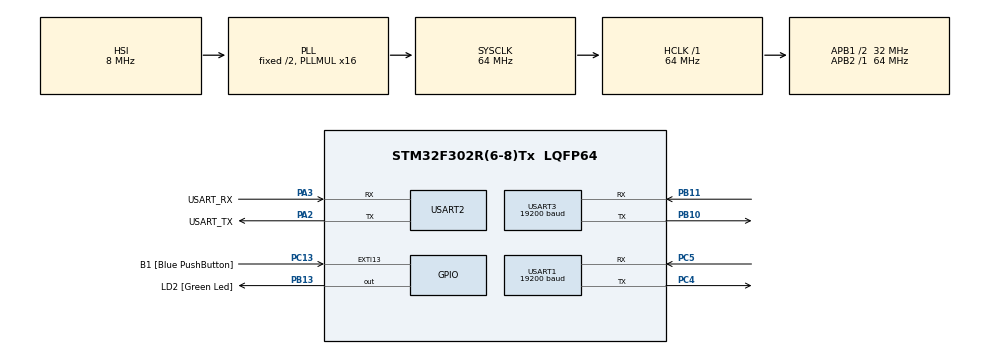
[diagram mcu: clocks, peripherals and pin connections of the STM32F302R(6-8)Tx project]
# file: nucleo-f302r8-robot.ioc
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Dma.Request0=USART1_RX
Dma.Request1=USART3_RX
Dma.USART1_RX.0.Direction=DMA_PERIPH_TO_MEMORY
Dma.USART1_RX.0.Instance=DMA1_Channel5
Dma.USART1_RX.0.MemDataAlignment=DMA_MDATAALIGN_BYTE
Dma.USART1_RX.0.MemInc=DMA_MINC_ENABLE
Dma.USART1_RX.0.Mode=DMA_NORMAL
Dma.USART1_RX.0.PeriphDataAlignment=DMA_PDATAALIGN_BYTE
Dma.USART1_RX.0.PeriphInc=DMA_PINC_DISABLE
Dma.USART1_RX.0.Priority=DMA_PRIORITY_LOW
Dma.USART3_RX.1.Direction=DMA_PERIPH_TO_MEMORY
Dma.USART3_RX.1.Instance=DMA1_Channel3
Dma.USART3_RX.1.MemDataAlignment=DMA_MDATAALIGN_BYTE
Dma.USART3_RX.1.MemInc=DMA_MINC_ENABLE
Dma.USART3_RX.1.Mode=DMA_NORMAL
Dma.USART3_RX.1.PeriphDataAlignment=DMA_PDATAALIGN_BYTE
Dma.USART3_RX.1.PeriphInc=DMA_PINC_DISABLE
Dma.USART3_RX.1.Priority=DMA_PRIORITY_MEDIUM
Mcu.Family=STM32F3
Mcu.Name=STM32F302R(6-8)Tx
Mcu.Package=LQFP64
NVIC.DMA1_Channel3_IRQn=true\:0\:0\:false\:false\:true\:false\:true\:true
NVIC.DMA1_Channel5_IRQn=true\:0\:0\:false\:false\:true\:false\:true\:true
NVIC.PriorityGroup=NVIC_PRIORITYGROUP_0
NVIC.TIM2_IRQn=true\:0\:0\:false\:false\:true\:true\:true\:true
NVIC.USART1_IRQn=true\:0\:0\:false\:false\:true\:true\:true\:true
NVIC.USART3_IRQn=true\:0\:0\:false\:false\:true\:true\:true\:true
PA13.GPIO_Label=TMS
PA13.Mode=Serial_Wire
PA13.Signal=SYS_JTMS-SWDIO
PA14.GPIO_Label=TCK
PA14.Mode=Serial_Wire
PA14.Signal=SYS_JTCK-SWCLK
PA2.GPIO_Label=USART_TX
PA2.GPIO_Mode=GPIO_MODE_AF_PP
PA2.GPIO_PuPd=GPIO_NOPULL
PA2.GPIO_Speed=GPIO_SPEED_FREQ_LOW
PA2.Mode=Asynchronous
PA2.Signal=USART2_TX
PA3.GPIO_Label=USART_RX
PA3.GPIO_Mode=GPIO_MODE_AF_PP
PA3.GPIO_PuPd=GPIO_NOPULL
PA3.GPIO_Speed=GPIO_SPEED_FREQ_LOW
PA3.Mode=Asynchronous
PA3.Signal=USART2_RX
PB10.Mode=Asynchronous
PB10.Signal=USART3_TX
PB11.Mode=Asynchronous
PB11.Signal=USART3_RX
PB13.GPIO_Label=LD2 [Green Led]
PB13.Signal=GPIO_Output
PB3.GPIO_Label=SWO
PB3.Mode=Trace_Asynchronous_SW
PB3.Signal=SYS_JTDO-TRACESWO
PC13.GPIO_Label=B1 [Blue PushButton]
PC13.GPIO_ModeDefaultEXTI=GPIO_MODE_IT_FALLING
PC13.Signal=GPXTI13
PC14\ -\ OSC32_IN.Mode=LSE-External-Oscillator
PC14\ -\ OSC32_IN.Signal=RCC_OSC32_IN
PC15\ -\ OSC32_OUT.Mode=LSE-External-Oscillator
PC15\ -\ OSC32_OUT.Signal=RCC_OSC32_OUT
PC4.Mode=Asynchronous
PC4.Signal=USART1_TX
PC5.Mode=Asynchronous
PC5.Signal=USART1_RX
PF0-OSC_IN.Mode=HSE-External-Clock-Source
PF0-OSC_IN.Signal=RCC_OSC_IN
PF1-OSC_OUT.Signal=RCC_OSC_OUT
ProjectManager.HeapSize=0x200
ProjectManager.StackSize=0x400
ProjectManager.TargetToolchain=STM32CubeIDE
RCC.AHBFreq_Value=64000000
RCC.APB1CLKDivider=RCC_HCLK_DIV2
RCC.APB1Freq_Value=32000000
RCC.APB1TimFreq_Value=64000000
RCC.APB2Freq_Value=64000000
RCC.APB2TimFreq_Value=64000000
RCC.CortexFreq_Value=64000000
RCC.HCLKFreq_Value=64000000
RCC.HSE_VALUE=8000000
RCC.HSI_VALUE=8000000
RCC.PLLM=8
RCC.PLLMUL=RCC_PLL_MUL16
RCC.PLLN=336
RCC.PLLP=RCC_PLLP_DIV4
RCC.PLLQ=7
RCC.RCC_PLLsource_Clock_Source_FROM_HSE=RCC_HSE_PREDIV_DIV2
RCC.SYSCLKFreq_VALUE=64000000
RCC.SYSCLKSourceVirtual=RCC_SYSCLKSOURCE_PLLCLK
RCC.USBFreq_Value=64000000
TIM2.Period=10000-1
TIM2.Prescaler=64-1
USART1.BaudRate=19200
USART1.VirtualMode-Asynchronous=VM_ASYNC
USART2.VirtualMode-Asynchronous=VM_ASYNC
USART3.BaudRate=19200
USART3.VirtualMode-Asynchronous=VM_ASYNC
VP_TIM2_VS_ClockSourceINT.Mode=Internal
board=NUCLEO-F302R8

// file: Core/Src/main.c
/* USER CODE BEGIN Header */
/**
  ******************************************************************************
  * @file           : main.c
  * @brief          : Main program body
  ******************************************************************************
  * @attention
  *
  * Copyright (c) 2023 STMicroelectronics.
  * All rights reserved.
  *
  * This software is licensed under terms that can be found in the LICENSE file
  * in the root directory of this software component.
  * If no LICENSE file comes with this software, it is provided AS-IS.
  *
  ******************************************************************************
  */
/* USER CODE END Header */
#include "main.h"

/* USER CODE BEGIN Includes */
#include "transceiver_uart.h"
#include "msg_interpreter.h"
#include "string.h"

/* USER CODE END Includes */

TIM_HandleTypeDef htim2;

UART_HandleTypeDef huart1;
UART_HandleTypeDef huart2;
UART_HandleTypeDef huart3;
DMA_HandleTypeDef hdma_usart1_rx;
DMA_HandleTypeDef hdma_usart3_rx;

/* USER CODE BEGIN PV */
uint8_t transceiver_clk = 0;

/* USER CODE END PV */

void SystemClock_Config(void);
static void MX_GPIO_Init(void);
static void MX_DMA_Init(void);
static void MX_USART2_UART_Init(void);
static void MX_TIM2_Init(void);
static void MX_USART1_UART_Init(void);
static void MX_USART3_UART_Init(void);

/* USER CODE BEGIN 0 */
void HAL_TIM_PeriodElapsedCallback(TIM_HandleTypeDef *htim)
{
  	if (htim==&htim2) // Every 100µs
  	{
  		transceiver_clk = 1;
  	}
}

/* USER CODE END 0 */

int main(void)
{

  /* MCU Configuration--------------------------------------------------------*/

  /* Reset of all peripherals, Initializes the Flash interface and the Systick. */
  HAL_Init();

  /* Configure the system clock */
  SystemClock_Config();

  /* Initialize all configured peripherals */
  MX_GPIO_Init();
  MX_DMA_Init();
  MX_USART2_UART_Init();
  MX_TIM2_Init();
  MX_USART1_UART_Init();
  MX_USART3_UART_Init();
  /* USER CODE BEGIN 2 */
  Init_DMA_Rcvd(&huart1);
  Init_DMA_Rcvd(&huart3);
  Start_DMA_Rcvd(&huart1); // Start reception of messages
  Start_DMA_Rcvd(&huart3);
  HAL_TIM_Base_Start_IT(&htim2); // Start timer

  /* USER CODE END 2 */

  /* Infinite loop */
  while (1)
  {

    /* USER CODE BEGIN 3 */
	if (transceiver_clk == 1)
	{
		transceiver_clk = 0;
		UART_Send_Messages(&huart1, &huart3); // Send to-send messages through UART
		// Retrieve and interpret a message received through UART
		Interpret_Message_Recv();
	}
  }
  /* USER CODE END 3 */
}

void SystemClock_Config(void)
{
  RCC_OscInitTypeDef RCC_OscInitStruct = {0};
  RCC_ClkInitTypeDef RCC_ClkInitStruct = {0};
  RCC_PeriphCLKInitTypeDef PeriphClkInit = {0};

  /** Initializes the RCC Oscillators according to the specified parameters
  * in the RCC_OscInitTypeDef structure.
  */
  RCC_OscInitStruct.OscillatorType = RCC_OSCILLATORTYPE_HSI;
  RCC_OscInitStruct.HSIState = RCC_HSI_ON;
  RCC_OscInitStruct.HSICalibrationValue = RCC_HSICALIBRATION_DEFAULT;
  RCC_OscInitStruct.PLL.PLLState = RCC_PLL_ON;
  RCC_OscInitStruct.PLL.PLLSource = RCC_PLLSOURCE_HSI;
  RCC_OscInitStruct.PLL.PLLMUL = RCC_PLL_MUL16;
  if (HAL_RCC_OscConfig(&RCC_OscInitStruct) != HAL_OK)
  {
    Error_Handler();
  }

  /** Initializes the CPU, AHB and APB buses clocks
  */
  RCC_ClkInitStruct.ClockType = RCC_CLOCKTYPE_HCLK|RCC_CLOCKTYPE_SYSCLK
                              |RCC_CLOCKTYPE_PCLK1|RCC_CLOCKTYPE_PCLK2;
  RCC_ClkInitStruct.SYSCLKSource = RCC_SYSCLKSOURCE_PLLCLK;
  RCC_ClkInitStruct.AHBCLKDivider = RCC_SYSCLK_DIV1;
  RCC_ClkInitStruct.APB1CLKDivider = RCC_HCLK_DIV2;
  RCC_ClkInitStruct.APB2CLKDivider = RCC_HCLK_DIV1;

  if (HAL_RCC_ClockConfig(&RCC_ClkInitStruct, FLASH_LATENCY_2) != HAL_OK)
  {
    Error_Handler();
  }
  PeriphClkInit.PeriphClockSelection = RCC_PERIPHCLK_USART1;
  PeriphClkInit.Usart1ClockSelection = RCC_USART1CLKSOURCE_PCLK1;
  if (HAL_RCCEx_PeriphCLKConfig(&PeriphClkInit) != HAL_OK)
  {
    Error_Handler();
  }
}

static void MX_TIM2_Init(void)
{

  TIM_ClockConfigTypeDef sClockSourceConfig = {0};
  TIM_MasterConfigTypeDef sMasterConfig = {0};

  htim2.Instance = TIM2;
  htim2.Init.Prescaler = 64-1;
  htim2.Init.CounterMode = TIM_COUNTERMODE_UP;
  htim2.Init.Period = 10000-1;
  htim2.Init.ClockDivision = TIM_CLOCKDIVISION_DIV1;
  htim2.Init.AutoReloadPreload = TIM_AUTORELOAD_PRELOAD_DISABLE;
  if (HAL_TIM_Base_Init(&htim2) != HAL_OK)
  {
    Error_Handler();
  }
  sClockSourceConfig.ClockSource = TIM_CLOCKSOURCE_INTERNAL;
  if (HAL_TIM_ConfigClockSource(&htim2, &sClockSourceConfig) != HAL_OK)
  {
    Error_Handler();
  }
  sMasterConfig.MasterOutputTrigger = TIM_TRGO_RESET;
  sMasterConfig.MasterSlaveMode = TIM_MASTERSLAVEMODE_DISABLE;
  if (HAL_TIMEx_MasterConfigSynchronization(&htim2, &sMasterConfig) != HAL_OK)
  {
    Error_Handler();
  }

}

static void MX_USART1_UART_Init(void)
{

  huart1.Instance = USART1;
  huart1.Init.BaudRate = 19200;
  huart1.Init.WordLength = UART_WORDLENGTH_8B;
  huart1.Init.StopBits = UART_STOPBITS_1;
  huart1.Init.Parity = UART_PARITY_NONE;
  huart1.Init.Mode = UART_MODE_TX_RX;
  huart1.Init.HwFlowCtl = UART_HWCONTROL_NONE;
  huart1.Init.OverSampling = UART_OVERSAMPLING_16;
  huart1.Init.OneBitSampling = UART_ONE_BIT_SAMPLE_DISABLE;
  huart1.AdvancedInit.AdvFeatureInit = UART_ADVFEATURE_NO_INIT;
  if (HAL_UART_Init(&huart1) != HAL_OK)
  {
    Error_Handler();
  }

}

static void MX_USART2_UART_Init(void)
{

  huart2.Instance = USART2;
  huart2.Init.BaudRate = 38400;
  huart2.Init.WordLength = UART_WORDLENGTH_8B;
  huart2.Init.StopBits = UART_STOPBITS_1;
  huart2.Init.Parity = UART_PARITY_NONE;
  huart2.Init.Mode = UART_MODE_TX_RX;
  huart2.Init.HwFlowCtl = UART_HWCONTROL_NONE;
  huart2.Init.OverSampling = UART_OVERSAMPLING_16;
  huart2.Init.OneBitSampling = UART_ONE_BIT_SAMPLE_DISABLE;
  huart2.AdvancedInit.AdvFeatureInit = UART_ADVFEATURE_NO_INIT;
  if (HAL_UART_Init(&huart2) != HAL_OK)
  {
    Error_Handler();
  }

}

static void MX_USART3_UART_Init(void)
{

  huart3.Instance = USART3;
  huart3.Init.BaudRate = 19200;
  huart3.Init.WordLength = UART_WORDLENGTH_8B;
  huart3.Init.StopBits = UART_STOPBITS_1;
  huart3.Init.Parity = UART_PARITY_NONE;
  huart3.Init.Mode = UART_MODE_TX_RX;
  huart3.Init.HwFlowCtl = UART_HWCONTROL_NONE;
  huart3.Init.OverSampling = UART_OVERSAMPLING_16;
  huart3.Init.OneBitSampling = UART_ONE_BIT_SAMPLE_DISABLE;
  huart3.AdvancedInit.AdvFeatureInit = UART_ADVFEATURE_NO_INIT;
  if (HAL_UART_Init(&huart3) != HAL_OK)
  {
    Error_Handler();
  }

}

static void MX_DMA_Init(void)
{

  /* DMA controller clock enable */
  __HAL_RCC_DMA1_CLK_ENABLE();

  /* DMA interrupt init */
  /* DMA1_Channel3_IRQn interrupt configuration */
  HAL_NVIC_SetPriority(DMA1_Channel3_IRQn, 0, 0);
  HAL_NVIC_EnableIRQ(DMA1_Channel3_IRQn);
  /* DMA1_Channel5_IRQn interrupt configuration */
  HAL_NVIC_SetPriority(DMA1_Channel5_IRQn, 0, 0);
  HAL_NVIC_EnableIRQ(DMA1_Channel5_IRQn);

}

static void MX_GPIO_Init(void)
{
  GPIO_InitTypeDef GPIO_InitStruct = {0};

  /* GPIO Ports Clock Enable */
  __HAL_RCC_GPIOC_CLK_ENABLE();
  __HAL_RCC_GPIOF_CLK_ENABLE();
  __HAL_RCC_GPIOA_CLK_ENABLE();
  __HAL_RCC_GPIOB_CLK_ENABLE();

  /*Configure GPIO pin Output Level */
  HAL_GPIO_WritePin(LD2_GPIO_Port, LD2_Pin, GPIO_PIN_RESET);

  /*Configure GPIO pin : B1_Pin */
  GPIO_InitStruct.Pin = B1_Pin;
  GPIO_InitStruct.Mode = GPIO_MODE_IT_FALLING;
  GPIO_InitStruct.Pull = GPIO_NOPULL;
  HAL_GPIO_Init(B1_GPIO_Port, &GPIO_InitStruct);

  /*Configure GPIO pin : LD2_Pin */
  GPIO_InitStruct.Pin = LD2_Pin;
  GPIO_InitStruct.Mode = GPIO_MODE_OUTPUT_PP;
  GPIO_InitStruct.Pull = GPIO_NOPULL;
  GPIO_InitStruct.Speed = GPIO_SPEED_FREQ_LOW;
  HAL_GPIO_Init(LD2_GPIO_Port, &GPIO_InitStruct);

}

void Error_Handler(void)
{
  __disable_irq();
  while (1)
  {
  }
}
